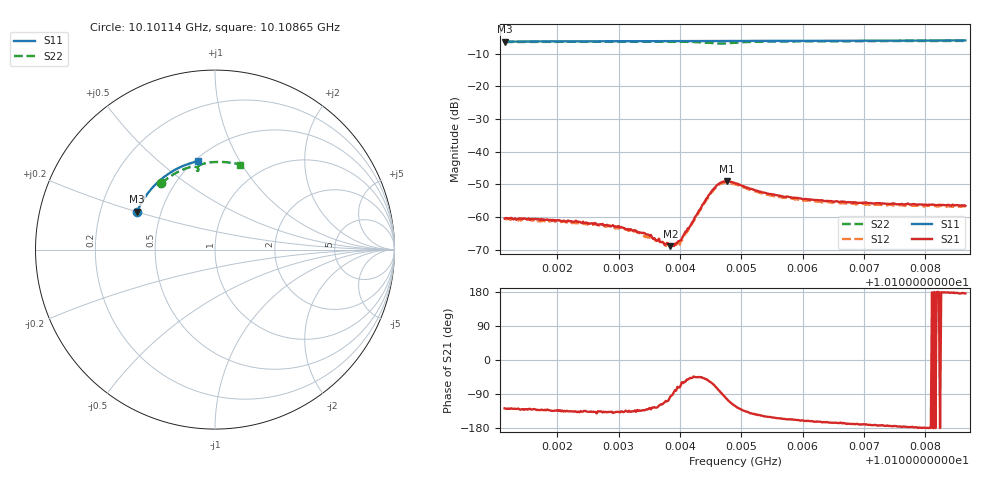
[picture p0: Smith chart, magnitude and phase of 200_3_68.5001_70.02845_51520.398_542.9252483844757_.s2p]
#  HZ  S  RI  R  50.00
! Rohde & Schwarz Vector Network Analyzer
! Rohde-Schwarz,ZNB20-2Port,1311601062101988,3.16
! Created: UTC 3/20/2024, 4:57:36 PM
! freq[Hz]  re:S11  im:S11  re:S21  im:S21  re:S12  im:S12  re:S22  im:S22
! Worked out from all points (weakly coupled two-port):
!   401 points, 10.10114 GHz to 10.10865 GHz, reference 50 ohm
!   highest |S21| = -49.06 dB at 10.10477 GHz (marker M1); lowest = -68.9 dB at 10.10385 GHz (marker M2)
!   lowest |S11| = -6.3 dB at 10.10114 GHz (marker M3), VSWR 2.86, Z = 18.3 + j10.1 ohm
!   |S11| at or under -10 dB: nowhere
!   |S22| runs from -7.0 to -6.1 dB; largest |S21 - S12| = 0.00038
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1.0101143e10  -0.4335 0.2115  -0.000578 -0.000753  -0.00052 -0.000783  -0.2986 0.3693
1.0101669e10  -0.4201 0.2407  -0.000619 -0.000683  -0.000546 -0.0007  -0.2722 0.391
1.0102401e10  -0.398 0.2795  -0.000584 -0.000562  -0.000518 -0.000602  -0.2329 0.418
1.0103039e10  -0.3763 0.3113  -0.000505 -0.000495  -0.00045 -0.000467  -0.1959 0.4384
1.0103283e10  -0.3671 0.3231  -0.000454 -0.000426  -0.00037 -0.000463  -0.1808 0.4454
1.0103452e10  -0.3605 0.331  -0.00035 -0.000411  -0.000318 -0.00039  -0.1699 0.4496
1.0103659e10  -0.3524 0.3406  -0.000237 -0.000404  -0.000187 -0.000391  -0.1562 0.4546
1.0103734e10  -0.3494 0.344  -0.000162 -0.00037  -0.000125 -0.000379  -0.151 0.4561
1.0103846e10  -0.3447 0.349  -3.55e-05 -0.000359  -2e-05 -0.000363  -0.1431 0.4582
1.0103921e10  -0.3417 0.3525  7.22e-05 -0.000386  5.83e-05 -0.000373  -0.1374 0.4596
1.0104034e10  -0.337 0.3573  0.000249 -0.000406  0.000257 -0.000358  -0.1288 0.4609
1.0104184e10  -0.3306 0.3638  0.000519 -0.000575  0.000553 -0.000518  -0.1164 0.4615
1.0104466e10  -0.3181 0.3756  0.00124 -0.00175  0.00129 -0.00155  -0.0938 0.452
1.010456e10  -0.3139 0.3792  0.0011 -0.00253  0.00126 -0.00236  -0.0914 0.4444
1.0104654e10  -0.3098 0.383  0.000386 -0.00329  0.000642 -0.00314  -0.0951 0.439
1.0104766e10  -0.3046 0.3876  -0.000821 -0.00343  -0.00049 -0.00332  -0.1018 0.4416
1.0104898e10  -0.2987 0.3926  -0.0017 -0.00284  -0.00141 -0.00284  -0.1026 0.4521
1.0105423e10  -0.2736 0.4123  -0.00199 -0.00115  -0.00179 -0.00126  -0.0691 0.4769
1.0105686e10  -0.2605 0.4213  -0.00186 -0.00085  -0.00171 -0.000976  -0.0505 0.482
1.0106155e10  -0.2364 0.4366  -0.00174 -0.000591  -0.00162 -0.000691  -0.0186 0.4868
1.0107413e10  -0.1682 0.4701  -0.00158 -0.000173  -0.0015 -0.00034  0.0637 0.4868
1.0108652e10  -0.0966 0.4921  -0.00149 0.000109  -0.00145 -4.87e-05  0.1419 0.4729
